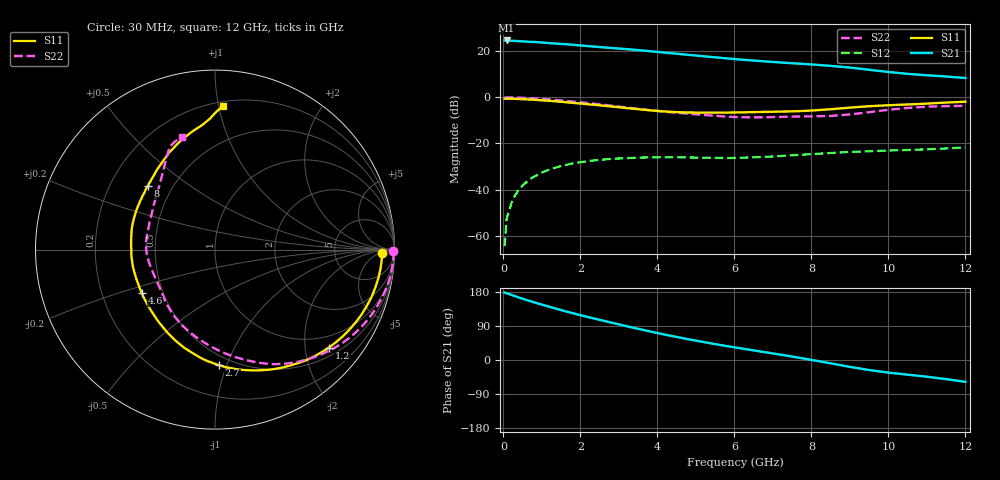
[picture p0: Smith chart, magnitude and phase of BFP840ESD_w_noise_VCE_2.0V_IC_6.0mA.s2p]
! Infineon Technologies  Discrete & RF Semiconductors
! BFP840ESD
! VCE =  2.0 V,  IC =  6.0 mA
! Common Emitter S-Parameters:  May 2012
# GHz  S  MA  R  50
!  f  S11  S21  S12  S22
! GHz  MAG  ANG  MAG  ANG  MAG  ANG  MAG  ANG
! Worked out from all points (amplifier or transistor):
!   93 points, 30 MHz to 12 GHz, reference 50 ohm
!   highest |S21| = 24.6 dB at 80 MHz (marker M1)
!   |S21| within 3 dB of that: start of sweep to 2.606 GHz
!   unconditionally stable (mu >= 1): 5.892 GHz to 9.951 GHz
!   at 1.1 GHz: K = 0.20, MSG = 27.7 dB, |S12| = -31.9 dB
!   at 4.2 GHz: K = 0.66, MSG = 22.6 dB, |S12| = -26.0 dB
!   at 12 GHz: K = 0.68, MSG = 15.0 dB, |S12| = -21.7 dB
!   lowest NFmin = 0.65 dB at 450 MHz
!   S11 on the Smith chart (normalised r, x): 30 MHz: 26, -6; 1.2 GHz: 0.69, -2.53; 2.7 GHz: 0.43, -0.94; 4.6 GHz: 0.38, -0.24; 8 GHz: 0.36, +0.35; 12 GHz: 0.23, +1.03
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0.03  0.9303 -1.0  16.95 177.8  0.0006 51.6  0.9918 -0.6
0.08  0.9311 -2.8  16.97 176.2  0.0023 92.0  0.995 -2.1
0.28  0.924 -9.8  16.63 169.2  0.007 81.4  0.9885 -8.2
0.6  0.9012 -20.7  16.01 158.3  0.0147 73.6  0.9641 -17.2
0.9  0.8711 -30.9  15.55 149.1  0.0214 67.1  0.9328 -25.5
1.2  0.8371 -40.7  14.85 140.2  0.0274 59.6  0.8951 -33.4
1.6  0.7838 -53.8  14.15 128.8  0.034 51.7  0.8379 -43.5
2.1  0.7188 -69.3  13.04 115.8  0.0405 42.3  0.7639 -55.6
2.7  0.6451 -87.9  11.84 101.1  0.0458 33.1  0.6734 -69.2
3.1  0.5952 -100.8  11.19 91.5  0.0477 27.7  0.6151 -78.3
3.4  0.5626 -110.3  10.65 84.5  0.0491 24.1  0.5753 -85.5
3.8  0.522 -123.3  9.94 75.5  0.0501 19.9  0.5269 -95.3
4.1  0.4983 -133.2  9.418 69.0  0.0502 17.0  0.4967 -102.7
4.6  0.474 -149.3  8.595 58.8  0.05 13.3  0.4551 -114.8
5.3  0.4668 -169.1  7.584 45.5  0.0492 10.5  0.4094 -130.1
6.1  0.4699 173.5  6.615 31.9  0.0488 10.9  0.3723 -147.1
7.2  0.4899 153.1  5.668 14.0  0.0536 11.4  0.3762 -171.4
8  0.5159 136.6  5.13 0.3  0.0589 9.6  0.3867 170.8
8.5  0.551 125.7  4.784 -8.8  0.0622 7.9  0.3944 157.7
9.5  0.6404 106.8  3.938 -26.5  0.0679 2.2  0.4757 130.4
10.5  0.6988 95.7  3.212 -38.7  0.0723 -2.5  0.5871 117.1
12  0.8014 86.7  2.607 -57.6  0.0825 -8.6  0.6519 106.4
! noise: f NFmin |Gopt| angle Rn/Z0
0.45  0.65  0.45  1  0.16
0.9  0.65  0.45  5  0.16
1.5  0.68  0.45  14  0.14
1.9  0.7  0.43  17  0.13
2.4  0.71  0.38  29  0.14
3.5  0.74  0.27  57  0.11
5.5  0.84  0.18  122  0.09
8  1.01  0.33  -142  0.08
10  1.17  0.49  -99  0.16
12  1.39  0.59  -77  0.26
